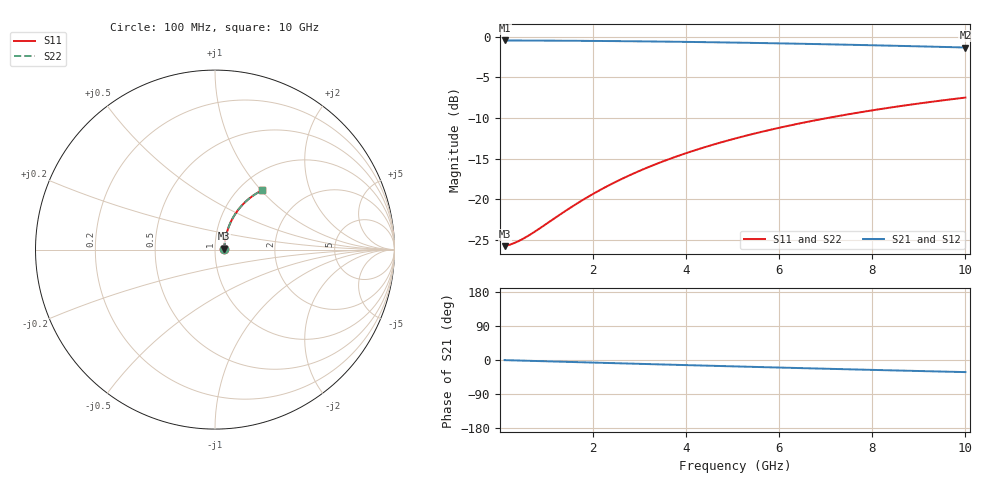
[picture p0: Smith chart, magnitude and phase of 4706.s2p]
# Hz S RI R 50.00
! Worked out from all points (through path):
!   100 points, 100 MHz to 10 GHz, reference 50 ohm
!   highest |S21| = -0.46 dB at 100 MHz (marker M1); lowest = -1.3 dB at 10 GHz (marker M2)
!   group delay of S21, straight-line fit = 8.9 ps
!   lowest |S11| = -25.8 dB at 100 MHz (marker M3), VSWR 1.11, Z = 55.4 + j0.491 ohm
!   |S11| at or under -10 dB: start of sweep to 7.037 GHz
!   |S22| runs from -25.8 to -7.5 dB; largest |S21 - S12| = 0
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1e8  0.0513 0.00442  0.9487 -0.00565  0.9487 -0.00565  0.0513 0.00442
2e8  0.0517 0.00884  0.9483 -0.0113  0.9483 -0.0113  0.0517 0.00884
3e8  0.0521 0.0132  0.9479 -0.0169  0.9479 -0.0169  0.0521 0.0132
4e8  0.0524 0.0177  0.9475 -0.0226  0.9475 -0.0226  0.0524 0.0177
6e8  0.0533 0.0264  0.9467 -0.0338  0.9467 -0.0338  0.0533 0.0264
8e8  0.0542 0.0352  0.9457 -0.045  0.9457 -0.045  0.0542 0.0352
1.4e9  0.0582 0.0613  0.9416 -0.0785  0.9416 -0.0785  0.0582 0.0613
1.8e9  0.0618 0.0784  0.9379 -0.1005  0.9379 -0.1005  0.0618 0.0784
2.2e9  0.0661 0.0954  0.9335 -0.1223  0.9335 -0.1223  0.0661 0.0954
2.6e9  0.0712 0.112  0.9282 -0.1439  0.9282 -0.1439  0.0712 0.112
3e9  0.0771 0.1283  0.9222 -0.1651  0.9222 -0.1651  0.0771 0.1283
3.4e9  0.0836 0.1442  0.9155 -0.186  0.9155 -0.186  0.0836 0.1442
3.8e9  0.0908 0.1597  0.9081 -0.2064  0.9081 -0.2064  0.0908 0.1597
4.2e9  0.0986 0.1748  0.8999 -0.2264  0.8999 -0.2264  0.0986 0.1748
4.6e9  0.1071 0.1894  0.8912 -0.246  0.8912 -0.246  0.1071 0.1894
5.1e9  0.1186 0.207  0.8794 -0.2697  0.8794 -0.2697  0.1186 0.207
5.9e9  0.1385 0.2333  0.8587 -0.3059  0.8587 -0.3059  0.1385 0.2333
6.7e9  0.1604 0.2572  0.8361 -0.3398  0.8361 -0.3398  0.1604 0.2572
7.5e9  0.1838 0.2788  0.8118 -0.3713  0.8118 -0.3713  0.1838 0.2788
8.4e9  0.2115 0.3001  0.7829 -0.4039  0.7829 -0.4039  0.2115 0.3001
9.2e9  0.2371 0.3164  0.7562 -0.4302  0.7562 -0.4302  0.2371 0.3164
1e10  0.2633 0.3302  0.7287 -0.4541  0.7287 -0.4541  0.2633 0.3302
